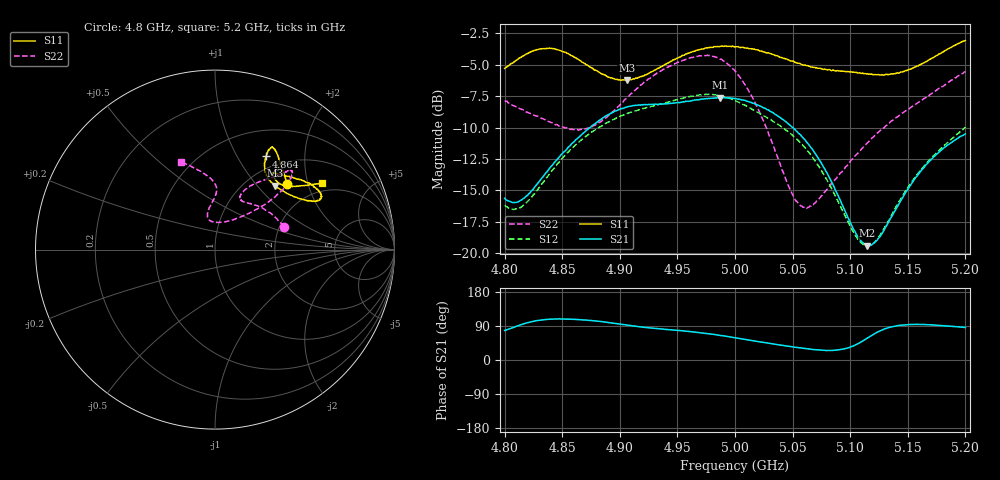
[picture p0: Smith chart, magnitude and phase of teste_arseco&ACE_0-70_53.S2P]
! Network Analyzer HP8722D
! Hewlett-Packard
! Data name: Linha & Wilkinson
! Saver's name: Rodrigo Anjos
! Comments: Teste da utilização de aquisição
! continua pelo VNA HP8722D
! Time and date: 8/5/2025 13:12
!  Frequency  S11  S21  S12  S22
# HZ  S  MA R 50
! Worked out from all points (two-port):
!   401 points, 4.8 GHz to 5.2 GHz, reference 50 ohm
!   highest |S21| = -7.61 dB at 4.987 GHz (marker M1); lowest = -19.4 dB at 5.115 GHz (marker M2)
!   |S21| within 3 dB of the highest: 4.866 GHz to 5.057 GHz (190.7 MHz wide, 3.84 % of centre); 5.198186 GHz to end of sweep
!   lowest |S11| = -6.2 dB at 4.906 GHz (marker M3), VSWR 2.90, Z = 66.7 + j62.3 ohm
!   |S11| at or under -10 dB: nowhere
!   |S22| runs from -16.4 to -4.2 dB; largest |S21 - S12| = 0.16
!   S11 on the Smith chart (normalised r, x): 4.8 GHz: 1.44, +1.49; 4.864 GHz: 0.83, +1.33; 5.2 GHz: 1.67, +2.46
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4.8e9  0.5438 42.2  0.1653 77.8  0.1553 42.9  0.4039 18.5
4.814e9  0.6004 52.8  0.1622 93.0  0.152 58.1  0.3748 30.9
4.831e9  0.6505 59.1  0.1955 105.2  0.1851 71.2  0.3456 43.2
4.845e9  0.647 61.4  0.2346 108.3  0.2239 75.1  0.3251 51.8
4.864e9  0.5913 61.3  0.2882 106.6  0.2752 75.8  0.3083 61.1
4.867e9  0.5761 61.0  0.2964 105.8  0.2829 75.5  0.3116 62.4
4.888e9  0.5087 55.8  0.3518 99.8  0.329 73.8  0.346 64.5
4.906e9  0.4877 46.9  0.3813 92.3  0.3594 72.0  0.4131 60.3
4.934e9  0.5448 31.6  0.3912 82.3  0.3917 68.5  0.5252 50.6
4.959e9  0.6237 25.8  0.4024 75.8  0.4184 63.4  0.5955 47.3
4.987e9  0.665 27.2  0.4164 65.0  0.4225 52.6  0.5917 43.8
5e9  0.6633 29.7  0.4118 58.6  0.4058 47.4  0.531 41.8
5.02e9  0.644 35.0  0.3881 48.6  0.3628 41.3  0.375 42.1
5.051e9  0.5805 44.8  0.3137 34.2  0.2913 34.1  0.1671 68.8
5.058e9  0.563 47.0  0.2911 31.3  0.271 32.5  0.1539 81.3
5.067e9  0.5508 49.6  0.2598 28.0  0.2421 31.1  0.1564 94.6
5.084e9  0.5322 52.7  0.1911 25.4  0.18 32.2  0.1908 102.5
5.105e9  0.5245 51.9  0.1196 40.2  0.1168 51.0  0.2459 95.7
5.115e9  0.5181 50.0  0.1071 58.0  0.1067 69.5  0.2752 92.1
5.134e9  0.5142 45.3  0.1347 86.0  0.1363 98.6  0.3293 88.4
5.167e9  0.5818 37.3  0.2272 93.3  0.2299 110.3  0.4213 97.0
5.2e9  0.7025 32.1  0.2983 85.9  0.3169 110.8  0.5263 111.3
